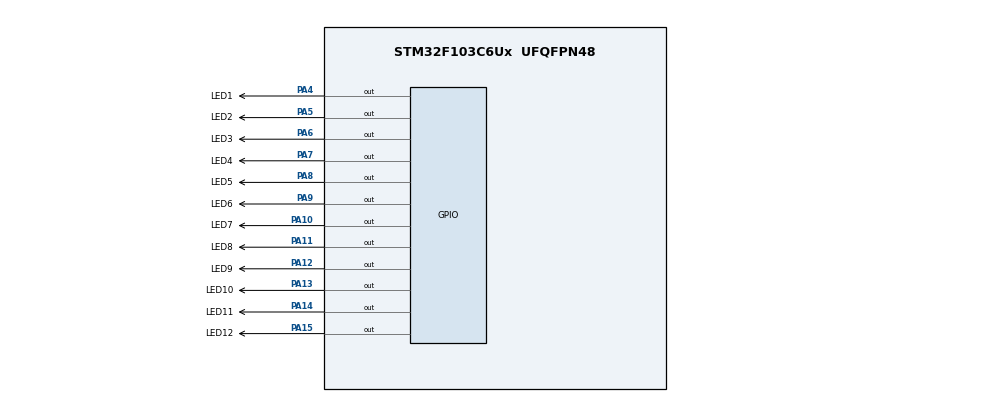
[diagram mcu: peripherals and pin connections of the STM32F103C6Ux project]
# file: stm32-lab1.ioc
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Mcu.Family=STM32F1
Mcu.Name=STM32F103C6Ux
Mcu.Package=UFQFPN48
NVIC.PriorityGroup=NVIC_PRIORITYGROUP_4
PA10.GPIO_Label=LED7
PA10.Signal=GPIO_Output
PA11.GPIO_Label=LED8
PA11.Signal=GPIO_Output
PA12.GPIO_Label=LED9
PA12.Signal=GPIO_Output
PA13.GPIO_Label=LED10
PA13.Signal=GPIO_Output
PA14.GPIO_Label=LED11
PA14.Signal=GPIO_Output
PA15.GPIO_Label=LED12
PA15.Signal=GPIO_Output
PA4.GPIO_Label=LED1
PA4.Signal=GPIO_Output
PA5.GPIO_Label=LED2
PA5.Signal=GPIO_Output
PA6.GPIO_Label=LED3
PA6.Signal=GPIO_Output
PA7.GPIO_Label=LED4
PA7.Signal=GPIO_Output
PA8.GPIO_Label=LED5
PA8.Signal=GPIO_Output
PA9.GPIO_Label=LED6
PA9.Signal=GPIO_Output
ProjectManager.HeapSize=0x200
ProjectManager.StackSize=0x400
ProjectManager.TargetToolchain=STM32CubeIDE
RCC.APB1Freq_Value=8000000
RCC.APB2Freq_Value=8000000
VP_SYS_VS_ND.Mode=No_Debug
board=custom

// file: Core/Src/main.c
/* USER CODE BEGIN Header */
/**
  ******************************************************************************
  * @file           : main.c
  * @brief          : Main program body
  ******************************************************************************
  * @attention
  *
  * <h2><center>&copy; Copyright (c) 2024 STMicroelectronics.
  * All rights reserved.</center></h2>
  *
  * This software component is licensed by ST under BSD 3-Clause license,
  * the "License"; You may not use this file except in compliance with the
  * License. You may obtain a copy of the License at:
  *                        opensource.org/licenses/BSD-3-Clause
  *
  ******************************************************************************
  */
/* USER CODE END Header */
#include "main.h"

void SystemClock_Config(void);
static void MX_GPIO_Init(void);
/* USER CODE BEGIN PFP */
void LED_Test (int count){
	if(count ==1) {HAL_GPIO_TogglePin(GPIOA, GPIO_PIN_4);}
	if(count ==2) {HAL_GPIO_TogglePin(GPIOA, GPIO_PIN_5);}
	if(count ==3) {HAL_GPIO_TogglePin(GPIOA, GPIO_PIN_6);}
	if(count ==4) {HAL_GPIO_TogglePin(GPIOA, GPIO_PIN_7);}
	if(count ==5) {HAL_GPIO_TogglePin(GPIOA, GPIO_PIN_8);}
	if(count ==6) {HAL_GPIO_TogglePin(GPIOA, GPIO_PIN_9);}
	if(count ==7) {HAL_GPIO_TogglePin(GPIOA, GPIO_PIN_10);}
	if(count ==8) {HAL_GPIO_TogglePin(GPIOA, GPIO_PIN_11);}
	if(count ==9) {HAL_GPIO_TogglePin(GPIOA, GPIO_PIN_12);}
	if(count ==10) {HAL_GPIO_TogglePin(GPIOA, GPIO_PIN_13);}
	if(count ==11) {HAL_GPIO_TogglePin(GPIOA, GPIO_PIN_14);}
	if(count ==12) {HAL_GPIO_TogglePin(GPIOA, GPIO_PIN_15);}
}
void clearAllClock()
{
    HAL_GPIO_WritePin(GPIOA, GPIO_PIN_4, GPIO_PIN_SET);
    HAL_GPIO_WritePin(GPIOA, GPIO_PIN_5, GPIO_PIN_SET);
    HAL_GPIO_WritePin(GPIOA, GPIO_PIN_6, GPIO_PIN_SET);
    HAL_GPIO_WritePin(GPIOA, GPIO_PIN_7, GPIO_PIN_SET);
    HAL_GPIO_WritePin(GPIOA, GPIO_PIN_8, GPIO_PIN_SET);
    HAL_GPIO_WritePin(GPIOA, GPIO_PIN_9, GPIO_PIN_SET);
    HAL_GPIO_WritePin(GPIOA, GPIO_PIN_10, GPIO_PIN_SET);
    HAL_GPIO_WritePin(GPIOA, GPIO_PIN_11, GPIO_PIN_SET);
    HAL_GPIO_WritePin(GPIOA, GPIO_PIN_12, GPIO_PIN_SET);
    HAL_GPIO_WritePin(GPIOA, GPIO_PIN_13, GPIO_PIN_SET);
    HAL_GPIO_WritePin(GPIOA, GPIO_PIN_14, GPIO_PIN_SET);
    HAL_GPIO_WritePin(GPIOA, GPIO_PIN_15, GPIO_PIN_SET);
}

void setNumberOnClock(int num)
{
	switch (num){
	case 0:
	    HAL_GPIO_WritePin(LED2_GPIO_Port, LED2_Pin, GPIO_PIN_RESET);
	    break;
	case 1:
	    HAL_GPIO_WritePin(LED3_GPIO_Port, LED3_Pin, GPIO_PIN_RESET);
	    break;
	case 2:
	    HAL_GPIO_WritePin(LED4_GPIO_Port, LED4_Pin, GPIO_PIN_RESET);
	    break;
	case 3:
	    HAL_GPIO_WritePin(LED5_GPIO_Port, LED5_Pin, GPIO_PIN_RESET);
	    break;
	case 4:
	    HAL_GPIO_WritePin(LED6_GPIO_Port, LED6_Pin, GPIO_PIN_RESET);
	    break;
	case 5:
	    HAL_GPIO_WritePin(LED7_GPIO_Port, LED7_Pin, GPIO_PIN_RESET);
	    break;
	case 6:
	    HAL_GPIO_WritePin(LED8_GPIO_Port, LED8_Pin, GPIO_PIN_RESET);
	    break;
	case 7:
	    HAL_GPIO_WritePin(LED9_GPIO_Port, LED9_Pin, GPIO_PIN_RESET);
	    break;
	case 8:
	    HAL_GPIO_WritePin(LED10_GPIO_Port, LED10_Pin, GPIO_PIN_RESET);
	    break;
	case 9:
	    HAL_GPIO_WritePin(LED11_GPIO_Port, LED11_Pin, GPIO_PIN_RESET);
	    break;
	case 10:
	    HAL_GPIO_WritePin(LED12_GPIO_Port, LED12_Pin, GPIO_PIN_RESET);
	    break;
	case 11:
	    HAL_GPIO_WritePin(LED1_GPIO_Port, LED1_Pin, GPIO_PIN_RESET);
	    break;

	}
}

void clearNumberOnClock(int num)
{
	switch (num){
	case 0:
	    HAL_GPIO_WritePin(LED2_GPIO_Port, LED2_Pin, GPIO_PIN_SET);
	    break;
	case 1:
	    HAL_GPIO_WritePin(LED3_GPIO_Port, LED3_Pin, GPIO_PIN_SET);
	    break;
	case 2:
	    HAL_GPIO_WritePin(LED4_GPIO_Port, LED4_Pin, GPIO_PIN_SET);
	    break;
	case 3:
	    HAL_GPIO_WritePin(LED5_GPIO_Port, LED5_Pin, GPIO_PIN_SET);
	    break;
	case 4:
	    HAL_GPIO_WritePin(LED6_GPIO_Port, LED6_Pin, GPIO_PIN_SET);
	    break;
	case 5:
	    HAL_GPIO_WritePin(LED7_GPIO_Port, LED7_Pin, GPIO_PIN_SET);
	    break;
	case 6:
	    HAL_GPIO_WritePin(LED8_GPIO_Port, LED8_Pin, GPIO_PIN_SET);
	    break;
	case 7:
	    HAL_GPIO_WritePin(LED9_GPIO_Port, LED9_Pin, GPIO_PIN_SET);
	    break;
	case 8:
	    HAL_GPIO_WritePin(LED10_GPIO_Port, LED10_Pin, GPIO_PIN_SET);
	    break;
	case 9:
	    HAL_GPIO_WritePin(LED11_GPIO_Port, LED11_Pin, GPIO_PIN_SET);
	    break;
	case 10:
	    HAL_GPIO_WritePin(LED12_GPIO_Port, LED12_Pin, GPIO_PIN_SET);
	    break;
	case 11:
	    HAL_GPIO_WritePin(LED1_GPIO_Port, LED1_Pin, GPIO_PIN_SET);
	    break;

	}
}
/* USER CODE END PFP */

int main(void)
{

  /* MCU Configuration--------------------------------------------------------*/

  /* Reset of all peripherals, Initializes the Flash interface and the Systick. */
  HAL_Init();

  /* Configure the system clock */
  SystemClock_Config();

  /* Initialize all configured peripherals */
  MX_GPIO_Init();

  /* Infinite loop */
  /* USER CODE BEGIN WHILE */
  int s =0;
  int m =0;
  int h =0;
  while (1)
  {
	  clearAllClock();
	  s++;
	  if (s >=60) {
		  s =0;
		  m++;
	  }
	  if (m >=60) {
		  m =0;
		  h++;
	  }
	  if (h >=24) {
		  h =0;
	  }
	  setNumberOnClock(s/5);
	  setNumberOnClock(m/5);
	  setNumberOnClock(h);
	  HAL_Delay(5);
    /* USER CODE END WHILE */

  }
}

void SystemClock_Config(void)
{
  RCC_OscInitTypeDef RCC_OscInitStruct = {0};
  RCC_ClkInitTypeDef RCC_ClkInitStruct = {0};

  /** Initializes the RCC Oscillators according to the specified parameters
  * in the RCC_OscInitTypeDef structure.
  */
  RCC_OscInitStruct.OscillatorType = RCC_OSCILLATORTYPE_HSI;
  RCC_OscInitStruct.HSIState = RCC_HSI_ON;
  RCC_OscInitStruct.HSICalibrationValue = RCC_HSICALIBRATION_DEFAULT;
  RCC_OscInitStruct.PLL.PLLState = RCC_PLL_NONE;
  if (HAL_RCC_OscConfig(&RCC_OscInitStruct) != HAL_OK)
  {
    Error_Handler();
  }
  /** Initializes the CPU, AHB and APB buses clocks
  */
  RCC_ClkInitStruct.ClockType = RCC_CLOCKTYPE_HCLK|RCC_CLOCKTYPE_SYSCLK
                              |RCC_CLOCKTYPE_PCLK1|RCC_CLOCKTYPE_PCLK2;
  RCC_ClkInitStruct.SYSCLKSource = RCC_SYSCLKSOURCE_HSI;
  RCC_ClkInitStruct.AHBCLKDivider = RCC_SYSCLK_DIV1;
  RCC_ClkInitStruct.APB1CLKDivider = RCC_HCLK_DIV1;
  RCC_ClkInitStruct.APB2CLKDivider = RCC_HCLK_DIV1;

  if (HAL_RCC_ClockConfig(&RCC_ClkInitStruct, FLASH_LATENCY_0) != HAL_OK)
  {
    Error_Handler();
  }
}

static void MX_GPIO_Init(void)
{
  GPIO_InitTypeDef GPIO_InitStruct = {0};

  /* GPIO Ports Clock Enable */
  __HAL_RCC_GPIOA_CLK_ENABLE();

  /*Configure GPIO pin Output Level */
  HAL_GPIO_WritePin(GPIOA, LED1_Pin|LED2_Pin|LED3_Pin|LED4_Pin
                          |LED5_Pin|LED6_Pin|LED7_Pin|LED8_Pin
                          |LED9_Pin|LED10_Pin|LED11_Pin|LED12_Pin, GPIO_PIN_RESET);

  /*Configure GPIO pins : LED1_Pin LED2_Pin LED3_Pin LED4_Pin
                           LED5_Pin LED6_Pin LED7_Pin LED8_Pin
                           LED9_Pin LED10_Pin LED11_Pin LED12_Pin */
  GPIO_InitStruct.Pin = LED1_Pin|LED2_Pin|LED3_Pin|LED4_Pin
                          |LED5_Pin|LED6_Pin|LED7_Pin|LED8_Pin
                          |LED9_Pin|LED10_Pin|LED11_Pin|LED12_Pin;
  GPIO_InitStruct.Mode = GPIO_MODE_OUTPUT_PP;
  GPIO_InitStruct.Pull = GPIO_NOPULL;
  GPIO_InitStruct.Speed = GPIO_SPEED_FREQ_LOW;
  HAL_GPIO_Init(GPIOA, &GPIO_InitStruct);

}

void Error_Handler(void)
{
  __disable_irq();
  while (1)
  {
  }
}

/************************ (C) COPYRIGHT STMicroelectronics *****END OF FILE****/
